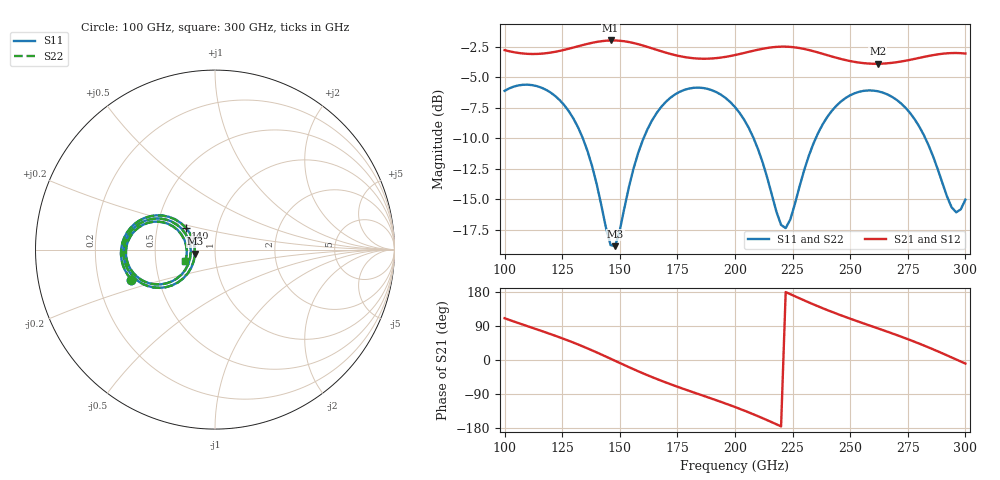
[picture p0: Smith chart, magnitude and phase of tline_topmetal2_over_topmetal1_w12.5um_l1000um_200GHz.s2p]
#  GHZ S DB R 50
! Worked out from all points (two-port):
!   101 points, 100 GHz to 300 GHz, reference 50 ohm
!   highest |S21| = -1.98 dB at 146 GHz (marker M1); lowest = -3.9 dB at 262 GHz (marker M2)
!   |S21| within 3 dB of the highest: start of sweep to end of sweep
!   lowest |S11| = -18.9 dB at 148 GHz (marker M3), VSWR 1.26, Z = 39.9 - j1.77 ohm
!   |S11| at or under -10 dB: 133.9 GHz to 160.3 GHz (26.39 GHz wide, 17.9 % of centre); 208.1 GHz to 235.1 GHz (26.99 GHz wide, 12.2 % of centre); 282.6 GHz to end of sweep
!   |S22| runs from -18.8 to -5.6 dB; largest |S21 - S12| = 8.7e-14
!   S11 on the Smith chart (normalised r, x): 100 GHz: 0.35, -0.15; 140 GHz: 0.70, +0.18; 300 GHz: 0.71, -0.09
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100  -6.11 -160.3  -2.77 110.2  -2.77 110.2  -6.11 -160.3
108  -5.61 -174.2  -3.05 93.3  -3.05 93.3  -5.61 -174.1
116  -5.85 172.4  -3.06 76.7  -3.06 76.7  -5.85 172.4
126  -7.31 155.9  -2.74 54.9  -2.74 54.9  -7.31 156.0
134  -10.03 144.6  -2.35 35.7  -2.35 35.7  -10.02 144.7
140  -13.80 143.0  -2.09 19.9  -2.09 19.9  -13.79 143.1
146  -18.77 171.1  -1.98 3.4  -1.98 3.4  -18.75 171.2
148  -18.86 -168.9  -1.98 -2.2  -1.98 -2.2  -18.84 -168.9
158  -11.20 -138.5  -2.28 -29.8  -2.28 -29.8  -11.20 -138.4
168  -7.43 -151.5  -2.86 -54.7  -2.86 -54.7  -7.42 -151.4
184  -5.85 -177.3  -3.46 -89.6  -3.46 -89.6  -5.85 -177.2
200  -7.44 158.0  -3.17 -124.1  -3.17 -124.1  -7.44 158.2
210  -10.90 147.0  -2.74 -148.4  -2.74 -148.4  -10.89 147.2
218  -16.04 159.1  -2.50 -169.7  -2.50 -169.7  -16.00 159.4
222  -17.38 -174.3  -2.48 179.3  -2.48 179.3  -17.32 -174.3
234  -10.46 -143.6  -2.85 146.9  -2.85 146.9  -10.45 -143.7
246  -6.98 -158.4  -3.50 117.9  -3.50 117.9  -6.98 -158.4
262  -6.15 177.7  -3.89 83.5  -3.89 83.5  -6.14 177.7
268  -6.58 168.9  -3.82 70.6  -3.82 70.6  -6.58 169.0
284  -10.57 151.1  -3.25 33.2  -3.25 33.2  -10.56 151.3
294  -15.67 169.5  -3.01 6.9  -3.01 6.9  -15.63 169.6
300  -15.05 -159.0  -3.05 -9.4  -3.05 -9.4  -15.01 -159.1
